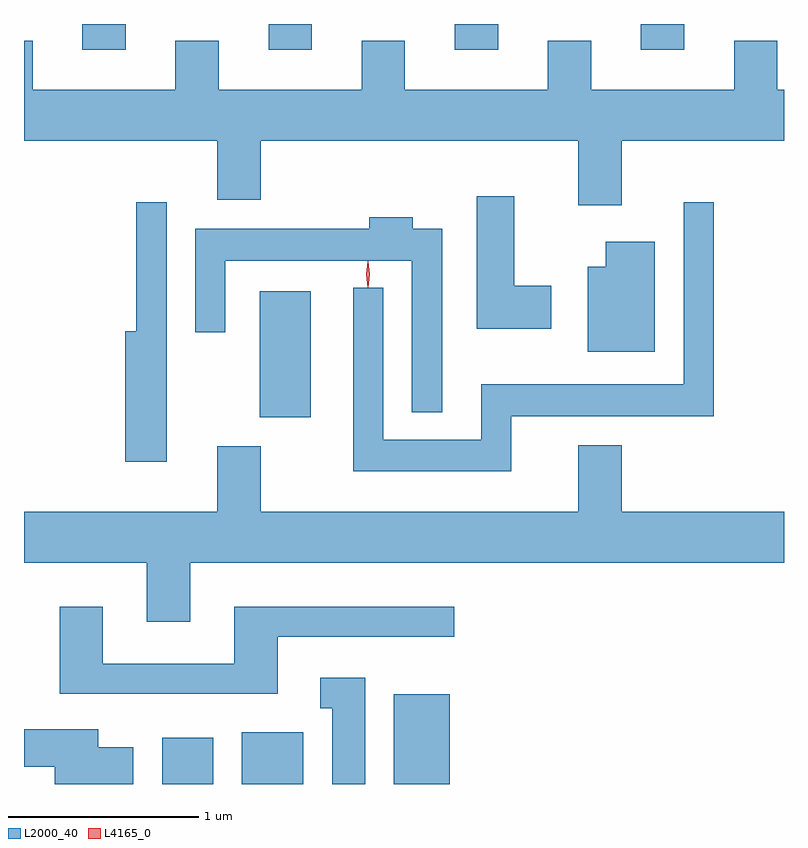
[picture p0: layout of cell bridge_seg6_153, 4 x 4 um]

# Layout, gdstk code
import gdstk
lib = gdstk.Library(unit=1e-6, precision=1e-09)
def R(c, l, rs):  # rectangles x0, y0, x1, y1
    for r in rs: c.add(gdstk.rectangle(r[:2], r[2:], *l))
def A(c, l, x, y, w, h, nx, ny, dx, dy):  # array of equal rectangles
    R(c, l, [(x+i*dx, y+j*dy, x+i*dx+w, y+j*dy+h) for i in range(nx) for j in range(ny)])
def P(c, l, *ps):  # polygons
    for p in ps: c.add(gdstk.Polygon(p, *l))
L2000_40 = (2000, 40)
L4165_0 = (4165, 0)

bridge_seg6_153 = lib.new_cell('bridge_seg6_153')
A(bridge_seg6_153, L2000_40, 1127.491, 1574.936, 0.228, 0.135, 4, 1, 0.98, 0)
R(bridge_seg6_153, L2000_40, [(1127.911,1571.071,1128.179,1571.314), (1128.331,1571.071,1128.654,1571.344), (1129.131,1571.071,1129.424,1571.544), (1128.426,1573.001,1128.694,1573.664)])
P(bridge_seg6_153, L2000_40, [(1130.329,1574.456),(1131.184,1574.456),(1131.184,1574.724),(1131.149,1574.724),(1131.149,1574.984),(1130.921,1574.984),(1130.921,1574.724),(1130.169,1574.724),(1130.169,1574.984),(1129.941,1574.984),(1129.941,1574.724),(1129.189,1574.724),(1129.189,1574.984),(1128.961,1574.984),(1128.961,1574.724),(1128.209,1574.724),(1128.209,1574.984),(1127.981,1574.984),(1127.981,1574.724),(1127.229,1574.724),(1127.229,1574.984),(1127.184,1574.984),(1127.184,1574.456),(1128.201,1574.456),(1128.201,1574.146),(1128.429,1574.146),(1128.429,1574.456),(1130.101,1574.456),(1130.101,1574.116),(1130.329,1574.116)],
  [(1129.959,1573.694),(1129.764,1573.694),(1129.764,1574.164),(1129.566,1574.164),(1129.566,1573.466),(1129.959,1573.466)],
  [(1129.749,1573.006),(1130.814,1573.006),(1130.814,1574.133),(1130.656,1574.133),(1130.656,1573.174),(1129.591,1573.174),(1129.591,1572.884),(1129.074,1572.884),(1129.074,1573.683),(1128.916,1573.683),(1128.916,1572.716),(1129.749,1572.716)],
  [(1127.934,1574.133),(1127.776,1574.133),(1127.776,1573.454),(1127.716,1573.454),(1127.716,1572.766),(1127.934,1572.766)],
  [(1129.384,1573.994),(1129.229,1573.994),(1129.229,1574.054),(1129.001,1574.054),(1129.001,1573.994),(1128.086,1573.994),(1128.086,1573.448),(1128.244,1573.448),(1128.244,1573.826),(1129.226,1573.826),(1129.226,1573.028),(1129.384,1573.028)],
  [(1130.504,1573.924),(1130.246,1573.924),(1130.246,1573.794),(1130.151,1573.794),(1130.151,1573.346),(1130.504,1573.346)],
  [(1128.059,1572.236),(1131.184,1572.236),(1131.184,1572.504),(1130.329,1572.504),(1130.329,1572.854),(1130.101,1572.854),(1130.101,1572.504),(1128.429,1572.504),(1128.429,1572.849),(1128.201,1572.849),(1128.201,1572.504),(1127.184,1572.504),(1127.184,1572.236),(1127.831,1572.236),(1127.831,1571.926),(1128.059,1571.926)],
  [(1128.519,1571.846),(1129.448,1571.846),(1129.448,1572.004),(1128.291,1572.004),(1128.291,1571.704),(1127.599,1571.704),(1127.599,1572.004),(1127.371,1572.004),(1127.371,1571.546),(1128.519,1571.546)],
  [(1128.979,1571.629),(1128.743,1571.629),(1128.743,1571.471),(1128.806,1571.471),(1128.806,1571.071),(1128.979,1571.071)],
  [(1127.759,1571.264),(1127.574,1571.264),(1127.574,1571.359),(1127.184,1571.359),(1127.184,1571.161),(1127.346,1571.161),(1127.346,1571.071),(1127.759,1571.071)])
P(bridge_seg6_153, L4165_0, [(1128.994,1573.684),(1128.994,1573.684),(1128.984,1573.753),(1128.994,1573.822),(1128.994,1573.823),(1128.995,1573.822),(1129.004,1573.753),(1128.995,1573.684)])

lib.write_gds('bridge_seg6_153.gds')
